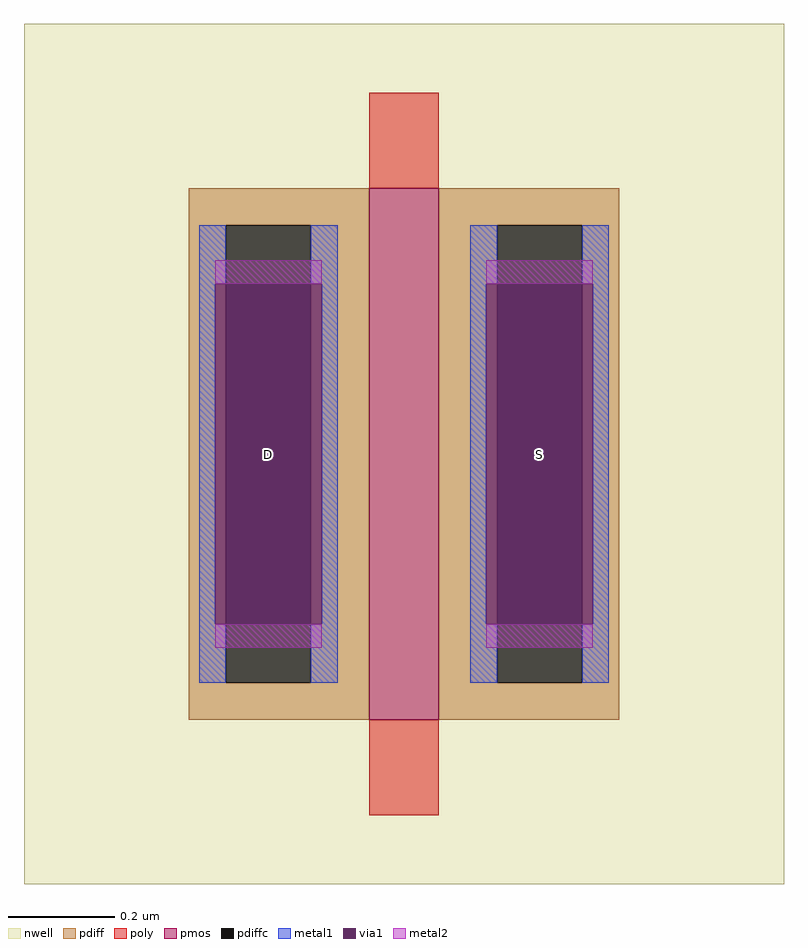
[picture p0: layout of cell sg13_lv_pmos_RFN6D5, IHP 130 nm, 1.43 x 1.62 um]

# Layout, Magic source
magic
tech ihp-sg13g2
magscale 1 2
<< nwell >>
rect -143 -162 143 162
<< pmos >>
rect -13 -100 13 100
<< pdiff >>
rect -81 86 -13 100
rect -81 -86 -67 86
rect -35 -86 -13 86
rect -81 -100 -13 -86
rect 13 86 81 100
rect 13 -86 35 86
rect 67 -86 81 86
rect 13 -100 81 -86
<< pdiffc >>
rect -67 -86 -35 86
rect 35 -86 67 86
<< poly >>
rect -13 100 13 136
rect -13 -136 13 -100
<< metal1 >>
rect -77 64 -67 86
rect -35 64 -25 86
rect -77 -64 -71 64
rect -31 -64 -25 64
rect -77 -86 -67 -64
rect -35 -86 -25 -64
rect 25 64 35 86
rect 67 64 77 86
rect 25 -64 31 64
rect 71 -64 77 64
rect 25 -86 35 -64
rect 67 -86 77 -64
<< via1 >>
rect -71 -64 -67 64
rect -67 -64 -35 64
rect -35 -64 -31 64
rect 31 -64 35 64
rect 35 -64 67 64
rect 67 -64 71 64
<< metal2 >>
rect -71 64 -31 73
rect -71 -73 -31 -64
rect 31 64 71 73
rect 31 -73 71 -64
<< labels >>
rlabel pdiffc -51 0 -51 0 0 D
port 1 nsew
rlabel pdiffc 51 0 51 0 0 S
port 2 nsew
<< properties >>
string gencell sg13_lv_pmos
string library sg13g2
string parameters w 1 l 0.13 m 1 nf 1 diffcov 100 polycov 100 guard 0 glc 1 grc 1 gtc 1 gbc 1 tbcov 100 rlcov 100 topc 0 botc 0 poverlap 0 doverlap 1 lmin 0.13 wmin 0.15 class mosfet compatible {sg13_lv_pmos sg13_hv_pmos} full_metal 1 conn_gates 0 gate_ring 0 ccols 1 viasrc 100 viadrn 100 viagate 100 viagb 0 viagr 0 viagl 0 viagt 0 doports 1
<< end >>
